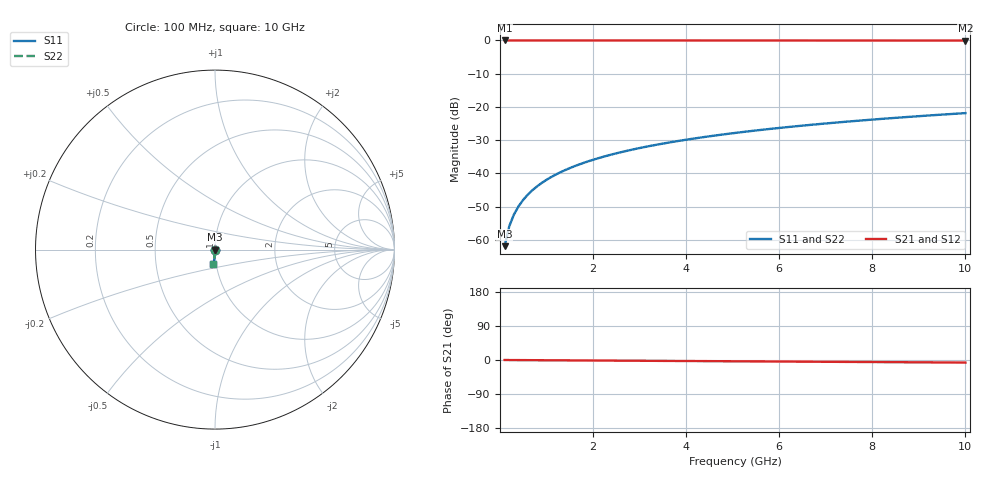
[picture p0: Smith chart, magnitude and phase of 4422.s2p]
# Hz S RI R 50.00
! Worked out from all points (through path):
!   100 points, 100 MHz to 10 GHz, reference 50 ohm
!   highest |S21| = 0.00 dB at 100 MHz (marker M1); lowest = 0.0 dB at 10 GHz (marker M2)
!   lowest |S11| = -61.9 dB at 100 MHz (marker M3), VSWR 1.00, Z = 50 - j0.0797 ohm
!   |S11| at or under -10 dB: start of sweep to end of sweep
!   |S22| runs from -61.9 to -21.9 dB; largest |S21 - S12| = 0
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1e8  5.99e-05 -0.000797  0.9999 -0.00116  0.9999 -0.00116  5.99e-05 -0.000797
2e8  5.66e-05 -0.00159  0.9999 -0.00233  0.9999 -0.00233  5.66e-05 -0.00159
3e8  5.13e-05 -0.00239  0.9999 -0.00349  0.9999 -0.00349  5.13e-05 -0.00239
4e8  4.41e-05 -0.00319  0.9999 -0.00466  0.9999 -0.00466  4.41e-05 -0.00319
5e8  3.5e-05 -0.00399  0.9999 -0.00582  0.9999 -0.00582  3.5e-05 -0.00399
6e8  2.41e-05 -0.00478  0.9999 -0.00699  0.9999 -0.00699  2.41e-05 -0.00478
7e8  1.12e-05 -0.00558  0.9999 -0.00815  0.9999 -0.00815  1.12e-05 -0.00558
8e8  -3.51e-06 -0.00638  0.9999 -0.00932  0.9999 -0.00932  -3.51e-06 -0.00638
9e8  -2.01e-05 -0.00718  0.9998 -0.0105  0.9998 -0.0105  -2.01e-05 -0.00718
1.1e9  -5.89e-05 -0.00877  0.9998 -0.0128  0.9998 -0.0128  -5.89e-05 -0.00877
1.4e9  -0.000131 -0.0112  0.9997 -0.0163  0.9997 -0.0163  -0.000131 -0.0112
1.8e9  -0.000254 -0.0144  0.9996 -0.021  0.9996 -0.021  -0.000254 -0.0144
2.1e9  -0.000366 -0.0168  0.9995 -0.0245  0.9995 -0.0245  -0.000366 -0.0168
2.5e9  -0.000541 -0.02  0.9993 -0.0292  0.9993 -0.0292  -0.000541 -0.02
2.9e9  -0.000746 -0.0232  0.9991 -0.0338  0.9991 -0.0338  -0.000746 -0.0232
3.4e9  -0.00105 -0.0272  0.9987 -0.0397  0.9987 -0.0397  -0.00105 -0.0272
4.2e9  -0.00162 -0.0336  0.9981 -0.0491  0.9981 -0.0491  -0.00162 -0.0336
5.1e9  -0.00242 -0.0408  0.9973 -0.0596  0.9973 -0.0596  -0.00242 -0.0408
5.9e9  -0.00326 -0.0472  0.9964 -0.069  0.9964 -0.069  -0.00326 -0.0472
6.7e9  -0.00422 -0.0537  0.9953 -0.0784  0.9953 -0.0784  -0.00422 -0.0537
8.4e9  -0.00668 -0.0673  0.9927 -0.0984  0.9927 -0.0984  -0.00668 -0.0673
1e10  -0.0095 -0.08  0.9897 -0.1172  0.9897 -0.1172  -0.0095 -0.08
